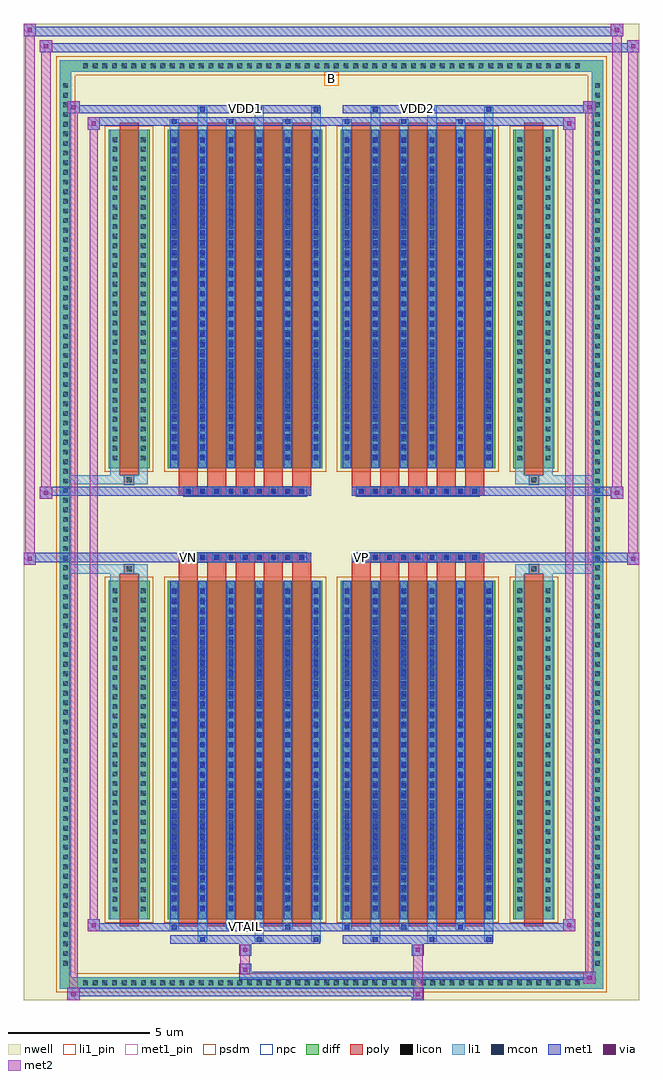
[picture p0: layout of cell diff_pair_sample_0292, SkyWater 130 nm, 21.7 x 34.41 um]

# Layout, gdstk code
import gdstk
lib = gdstk.Library(unit=1e-6, precision=5e-09)
def R(c, l, rs):  # rectangles x0, y0, x1, y1
    for r in rs: c.add(gdstk.rectangle(r[:2], r[2:], *l))
def A(c, l, x, y, w, h, nx, ny, dx, dy):  # array of equal rectangles
    R(c, l, [(x+i*dx, y+j*dy, x+i*dx+w, y+j*dy+h) for i in range(nx) for j in range(ny)])
def P(c, l, *ps):  # polygons
    for p in ps: c.add(gdstk.Polygon(p, *l))
nwell = (64, 20)
diff = (65, 20)
poly = (66, 20)
licon = (66, 44)
li1_pin = (67, 16)
li1 = (67, 20)
mcon = (67, 44)
met1_pin = (68, 16)
met1 = (68, 20)
via = (68, 44)
met2 = (69, 20)
psdm = (94, 20)
npc = (95, 20)

diff_pair_sample_0292 = lib.new_cell('diff_pair_sample_0292')
R(diff_pair_sample_0292, nwell, [(-10.85,-16.77,10.85,17.64), (-8.17,-14.96,-0.01,-0.8), (0.01,-14.96,8.17,-0.8), (-8.17,0.8,-0.01,14.96), (0.01,0.8,8.17,14.96)])
A(diff_pair_sample_0292, diff, -8.875, -16.37, 0.41, 0.41, 52, 2, 0.34, 32.33)
A(diff_pair_sample_0292, diff, -9.58, -15.675, 0.41, 0.41, 1, 92, 0, 0.34)
A(diff_pair_sample_0292, diff, 9.17, -15.675, 0.41, 0.41, 1, 92, 0, 0.34)
R(diff_pair_sample_0292, diff, [(-8.875,-16.37,8.875,-15.96), (-9.58,-15.675,-9.17,15.675), (9.17,-15.675,9.58,15.675), (-7.86,-13.915,-6.41,-1.985), (-5.77,-13.915,-0.32,-1.985), (0.32,-13.915,5.77,-1.985), (6.41,-13.915,7.86,-1.985), (-7.86,1.985,-6.41,13.915), (-5.77,1.985,-0.32,13.915), (0.32,1.985,5.77,13.915), (6.41,1.985,7.86,13.915), (-8.875,15.96,8.875,16.37)])
P(diff_pair_sample_0292, diff, [(9.58,16.37),(-9.58,16.37),(-9.58,-15.96),(-9.17,-15.96),(-9.17,15.96),(9.17,15.96),(9.17,-15.96),(-9.17,-15.96),(-9.58,-15.96),(-9.58,-16.37),(9.58,-16.37)])
A(diff_pair_sample_0292, poly, -5.38, -14.165, 0.67, 12.43, 5, 2, 1, 15.9)
A(diff_pair_sample_0292, poly, 0.71, -14.165, 0.67, 12.43, 5, 2, 1, 15.9)
A(diff_pair_sample_0292, poly, -5.38, -1.735, 0.67, 0.405, 5, 2, 1, 3.065)
A(diff_pair_sample_0292, poly, 0.71, -1.735, 0.67, 0.405, 5, 2, 1, 3.065)
A(diff_pair_sample_0292, poly, -5.21, -1.33, 0.33, 0.33, 9, 2, 0.5, 2.33)
A(diff_pair_sample_0292, poly, 0.88, -1.33, 0.33, 0.33, 9, 2, 0.5, 2.33)
R(diff_pair_sample_0292, poly, [(-7.47,-14.165,-6.8,-1.735), (6.8,-14.165,7.47,-1.735), (-7.3,-1.735,-6.97,-1.405), (-7.3,-1.735,-6.97,-1.405), (6.97,-1.735,7.3,-1.405), (6.97,-1.735,7.3,-1.405), (-5.38,-1.33,-0.71,-1), (0.71,-1.33,5.38,-1), (-5.38,1,-0.71,1.33), (0.71,1,5.38,1.33), (-7.3,1.405,-6.97,1.735), (-7.3,1.405,-6.97,1.735), (6.97,1.405,7.3,1.735), (6.97,1.405,7.3,1.735), (-7.47,1.735,-6.8,14.165), (6.8,1.735,7.47,14.165)])
A(diff_pair_sample_0292, licon, -8.755, -16.25, 0.17, 0.17, 52, 2, 0.34, 32.33)
A(diff_pair_sample_0292, licon, -9.46, -15.555, 0.17, 0.17, 1, 92, 0, 0.34)
A(diff_pair_sample_0292, licon, 9.29, -15.555, 0.17, 0.17, 1, 92, 0, 0.34)
A(diff_pair_sample_0292, licon, -7.72, -13.645, 0.17, 0.17, 1, 34, 0, 0.34)
A(diff_pair_sample_0292, licon, -6.72, -13.645, 0.17, 0.17, 1, 34, 0, 0.34)
A(diff_pair_sample_0292, licon, -5.63, -13.645, 0.17, 0.17, 6, 34, 1, 0.34)
A(diff_pair_sample_0292, licon, 0.46, -13.645, 0.17, 0.17, 6, 34, 1, 0.34)
A(diff_pair_sample_0292, licon, 6.55, -13.645, 0.17, 0.17, 1, 34, 0, 0.34)
A(diff_pair_sample_0292, licon, 7.55, -13.645, 0.17, 0.17, 1, 34, 0, 0.34)
A(diff_pair_sample_0292, licon, -5.13, -1.25, 0.17, 0.17, 9, 2, 0.5, 2.33)
A(diff_pair_sample_0292, licon, 0.96, -1.25, 0.17, 0.17, 9, 2, 0.5, 2.33)
A(diff_pair_sample_0292, licon, -7.72, 2.255, 0.17, 0.17, 1, 34, 0, 0.34)
A(diff_pair_sample_0292, licon, -6.72, 2.255, 0.17, 0.17, 1, 34, 0, 0.34)
A(diff_pair_sample_0292, licon, -5.63, 2.255, 0.17, 0.17, 6, 34, 1, 0.34)
A(diff_pair_sample_0292, licon, 0.46, 2.255, 0.17, 0.17, 6, 34, 1, 0.34)
A(diff_pair_sample_0292, licon, 6.55, 2.255, 0.17, 0.17, 1, 34, 0, 0.34)
A(diff_pair_sample_0292, licon, 7.55, 2.255, 0.17, 0.17, 1, 34, 0, 0.34)
R(diff_pair_sample_0292, licon, [(-7.22,-1.655,-7.05,-1.485), (7.05,-1.655,7.22,-1.485), (-7.22,1.485,-7.05,1.655), (7.05,1.485,7.22,1.655)])
R(diff_pair_sample_0292, li1_pin, [(-0.25,15.46,0.25,15.96)])
A(diff_pair_sample_0292, li1, -8.835, -16.33, 0.33, 0.33, 52, 2, 0.34, 32.33)
A(diff_pair_sample_0292, li1, -9.54, -15.635, 0.33, 0.33, 1, 92, 0, 0.34)
A(diff_pair_sample_0292, li1, 9.21, -15.635, 0.33, 0.33, 1, 92, 0, 0.34)
A(diff_pair_sample_0292, li1, -4.71, -14.72, 0.33, 0.805, 3, 2, 2, 28.635)
A(diff_pair_sample_0292, li1, -4.63, -14.72, 0.17, 0.17, 3, 2, 2, 29.27)
A(diff_pair_sample_0292, li1, 1.38, -14.72, 0.33, 0.805, 3, 2, 2, 28.635)
A(diff_pair_sample_0292, li1, 1.46, -14.72, 0.17, 0.17, 3, 2, 2, 29.27)
A(diff_pair_sample_0292, li1, -5.71, -14.29, 0.33, 0.375, 3, 2, 2, 28.205)
A(diff_pair_sample_0292, li1, -5.63, -14.29, 0.17, 0.17, 3, 2, 2, 28.41)
A(diff_pair_sample_0292, li1, 0.38, -14.29, 0.33, 0.375, 3, 2, 2, 28.205)
A(diff_pair_sample_0292, li1, 0.46, -14.29, 0.17, 0.17, 3, 2, 2, 28.41)
A(diff_pair_sample_0292, li1, -5.71, -13.915, 0.33, 11.93, 6, 2, 1, 15.9)
A(diff_pair_sample_0292, li1, 0.38, -13.915, 0.33, 11.93, 6, 2, 1, 15.9)
A(diff_pair_sample_0292, li1, -7.8, -13.725, 0.33, 0.33, 1, 34, 0, 0.34)
A(diff_pair_sample_0292, li1, -6.8, -13.725, 0.33, 0.33, 1, 34, 0, 0.34)
A(diff_pair_sample_0292, li1, -5.71, -13.725, 0.33, 0.33, 6, 34, 1, 0.34)
A(diff_pair_sample_0292, li1, 0.38, -13.725, 0.33, 0.33, 6, 34, 1, 0.34)
A(diff_pair_sample_0292, li1, 6.47, -13.725, 0.33, 0.33, 1, 34, 0, 0.34)
A(diff_pair_sample_0292, li1, 7.47, -13.725, 0.33, 0.33, 1, 34, 0, 0.34)
A(diff_pair_sample_0292, li1, -5.63, -13.615, 0.17, 0.17, 6, 32, 1, 0.36)
A(diff_pair_sample_0292, li1, -5.63, -13.615, 0.17, 11.33, 6, 2, 1, 15.9)
A(diff_pair_sample_0292, li1, 0.46, -13.615, 0.17, 0.17, 6, 32, 1, 0.36)
A(diff_pair_sample_0292, li1, 0.46, -13.615, 0.17, 11.33, 6, 2, 1, 15.9)
A(diff_pair_sample_0292, li1, -5.21, -1.33, 0.33, 0.33, 9, 2, 0.5, 2.33)
A(diff_pair_sample_0292, li1, 0.88, -1.33, 0.33, 0.33, 9, 2, 0.5, 2.33)
A(diff_pair_sample_0292, li1, -7.8, 2.175, 0.33, 0.33, 1, 34, 0, 0.34)
A(diff_pair_sample_0292, li1, -6.8, 2.175, 0.33, 0.33, 1, 34, 0, 0.34)
A(diff_pair_sample_0292, li1, -5.71, 2.175, 0.33, 0.33, 6, 34, 1, 0.34)
A(diff_pair_sample_0292, li1, 0.38, 2.175, 0.33, 0.33, 6, 34, 1, 0.34)
A(diff_pair_sample_0292, li1, 6.47, 2.175, 0.33, 0.33, 1, 34, 0, 0.34)
A(diff_pair_sample_0292, li1, 7.47, 2.175, 0.33, 0.33, 1, 34, 0, 0.34)
A(diff_pair_sample_0292, li1, -5.63, 2.285, 0.17, 0.17, 6, 32, 1, 0.36)
A(diff_pair_sample_0292, li1, 0.46, 2.285, 0.17, 0.17, 6, 32, 1, 0.36)
R(diff_pair_sample_0292, li1, [(-9.58,-16.37,-9.17,-15.96), (-9.58,-16.37,-9.17,-15.96), (-9.17,-16.37,9.17,-15.96), (9.17,-16.37,9.58,-15.96), (9.17,-16.37,9.58,-15.96), (-9.58,-15.96,-9.17,15.96), (9.17,-15.96,9.58,15.96), (-7.8,-13.915,-7.47,-1.985), (-6.8,-13.915,-6.47,-1.985), (6.47,-13.915,6.8,-1.985), (7.47,-13.915,7.8,-1.985), (-7.8,-1.985,-7.47,-1.405), (-6.8,-1.985,-6.47,-1.405), (6.47,-1.985,6.8,-1.405), (7.47,-1.985,7.8,-1.405), (-9.58,-1.735,-7.3,-1.405), (-7.8,-1.735,-7.3,-1.405), (-7.3,-1.735,-6.97,-1.405), (-6.97,-1.735,-6.47,-1.405), (6.47,-1.735,6.97,-1.405), (6.97,-1.735,7.3,-1.405), (6.97,-1.735,9.58,-1.405), (7.3,-1.735,7.8,-1.405), (-9.58,1.405,-7.3,1.735), (-7.8,1.405,-7.3,1.735), (-7.8,1.405,-7.47,1.985), (-7.3,1.405,-6.97,1.735), (-6.97,1.405,-6.47,1.735), (-6.8,1.405,-6.47,1.985), (6.47,1.405,6.97,1.735), (6.47,1.405,6.8,1.985), (6.97,1.405,7.3,1.735), (6.97,1.405,9.58,1.735), (7.3,1.405,7.8,1.735), (7.47,1.405,7.8,1.985), (-7.8,1.985,-7.47,13.915), (-6.8,1.985,-6.47,13.915), (6.47,1.985,6.8,13.915), (7.47,1.985,7.8,13.915), (-9.58,15.96,-9.17,16.37), (-9.58,15.96,-9.17,16.37), (-9.17,15.96,9.17,16.37), (9.17,15.96,9.58,16.37), (9.17,15.96,9.58,16.37)])
A(diff_pair_sample_0292, mcon, -4.63, -14.72, 0.17, 0.17, 3, 2, 2, 29.27)
A(diff_pair_sample_0292, mcon, 1.46, -14.72, 0.17, 0.17, 3, 2, 2, 29.27)
A(diff_pair_sample_0292, mcon, -5.63, -14.29, 0.17, 0.17, 3, 2, 2, 28.41)
A(diff_pair_sample_0292, mcon, 0.46, -14.29, 0.17, 0.17, 3, 2, 2, 28.41)
A(diff_pair_sample_0292, mcon, -5.63, -13.615, 0.17, 0.17, 6, 32, 1, 0.36)
A(diff_pair_sample_0292, mcon, 0.46, -13.615, 0.17, 0.17, 6, 32, 1, 0.36)
A(diff_pair_sample_0292, mcon, -5.13, -1.25, 0.17, 0.17, 9, 2, 0.5, 2.33)
A(diff_pair_sample_0292, mcon, 0.96, -1.25, 0.17, 0.17, 9, 2, 0.5, 2.33)
A(diff_pair_sample_0292, mcon, -5.63, 2.285, 0.17, 0.17, 6, 32, 1, 0.36)
A(diff_pair_sample_0292, mcon, 0.46, 2.285, 0.17, 0.17, 6, 32, 1, 0.36)
R(diff_pair_sample_0292, met1_pin, [(-3.18,-14.33,-2.91,-14.06), (-5.18,-1.29,-4.91,-1.02), (0.91,-1.29,1.18,-1.02), (-3.18,14.51,-2.91,14.78), (2.91,14.51,3.18,14.78)])
A(diff_pair_sample_0292, met1, -4.69, -14.78, 0.29, 0.29, 3, 2, 2, 29.27)
A(diff_pair_sample_0292, met1, 1.4, -14.78, 0.29, 0.29, 3, 2, 2, 29.27)
A(diff_pair_sample_0292, met1, -5.69, -14.35, 0.29, 0.29, 3, 2, 2, 28.41)
A(diff_pair_sample_0292, met1, 0.4, -14.35, 0.29, 0.29, 3, 2, 2, 28.41)
A(diff_pair_sample_0292, met1, -5.69, -13.915, 0.29, 11.93, 6, 2, 1, 15.9)
A(diff_pair_sample_0292, met1, 0.4, -13.915, 0.29, 11.93, 6, 2, 1, 15.9)
A(diff_pair_sample_0292, met1, -5.69, -13.675, 0.29, 0.29, 6, 32, 1, 0.36)
A(diff_pair_sample_0292, met1, 0.4, -13.675, 0.29, 0.29, 6, 32, 1, 0.36)
A(diff_pair_sample_0292, met1, -5.19, -1.31, 0.29, 0.29, 9, 2, 0.5, 2.33)
A(diff_pair_sample_0292, met1, 0.9, -1.31, 0.29, 0.29, 9, 2, 0.5, 2.33)
A(diff_pair_sample_0292, met1, -5.69, 2.225, 0.29, 0.29, 6, 32, 1, 0.36)
A(diff_pair_sample_0292, met1, 0.4, 2.225, 0.29, 0.29, 6, 32, 1, 0.36)
R(diff_pair_sample_0292, met1, [(-9.31,-16.77,-8.88,-16.34), (2.83,-16.77,3.26,-16.34), (-9.31,-16.63,3.26,-16.34), (8.88,-16.2,9.31,-15.77), (-3.26,-16.06,9.31,-15.77), (-3.26,-15.92,-2.83,-15.49), (-3.26,-15.21,-2.83,-14.78), (2.83,-15.21,3.26,-14.78), (-5.69,-14.78,-0.4,-14.49), (0.4,-14.78,5.69,-14.49), (-8.6,-14.35,-8.17,-13.92), (-8.6,-14.35,-5.69,-14.06), (-5.69,-14.35,-0.4,-14.06), (-0.4,-14.35,0.4,-14.06), (0.4,-14.35,5.69,-14.06), (5.69,-14.35,8.6,-14.06), (8.17,-14.35,8.6,-13.92), (-10.85,-1.43,-10.42,-1), (10.42,-1.43,10.85,-1), (-10.85,-1.33,-0.71,-1), (-5.38,-1.33,-0.71,-1), (0.71,-1.33,5.38,-1), (0.71,-1.33,10.85,-1), (-10.28,0.9,-9.85,1.33), (9.85,0.9,10.28,1.33), (-10.28,1,-5.38,1.33), (-5.38,1,-0.71,1.33), (0.71,1,5.38,1.33), (5.38,1,10.28,1.33), (-8.6,13.92,-8.17,14.35), (8.17,13.92,8.6,14.35), (-8.6,14.06,-5.69,14.35), (-5.69,14.06,-0.4,14.35), (-0.4,14.06,0.4,14.35), (0.4,14.06,5.69,14.35), (5.69,14.06,8.6,14.35), (-9.31,14.49,-8.88,14.92), (-9.31,14.49,-5.69,14.78), (-5.69,14.49,-0.4,14.78), (0.4,14.49,5.69,14.78), (5.69,14.49,9.31,14.78), (8.88,14.49,9.31,14.92), (-10.28,16.64,-9.85,17.07), (-10.28,16.64,-8.17,16.97), (-8.17,16.64,8.17,16.97), (8.17,16.64,10.85,16.97), (10.42,16.64,10.85,17.07), (-10.85,17.21,-10.42,17.64), (-10.85,17.21,-8.17,17.54), (-8.17,17.21,8.17,17.54), (8.17,17.21,10.28,17.54), (9.85,17.21,10.28,17.64)])
R(diff_pair_sample_0292, via, [(-9.17,-16.63,-9.02,-16.48), (2.97,-16.63,3.12,-16.48), (9.02,-16.06,9.17,-15.91), (-3.12,-15.78,-2.97,-15.63), (-3.12,-15.07,-2.97,-14.92), (2.97,-15.07,3.12,-14.92), (-8.46,-14.21,-8.31,-14.06), (8.31,-14.21,8.46,-14.06), (-10.71,-1.29,-10.56,-1.14), (10.56,-1.29,10.71,-1.14), (-10.14,1.04,-9.99,1.19), (9.99,1.04,10.14,1.19), (-8.46,14.06,-8.31,14.21), (8.31,14.06,8.46,14.21), (-9.17,14.63,-9.02,14.78), (9.02,14.63,9.17,14.78), (-10.14,16.78,-9.99,16.93), (10.56,16.78,10.71,16.93), (-10.71,17.35,-10.56,17.5), (9.99,17.35,10.14,17.5)])
R(diff_pair_sample_0292, met2, [(-9.31,-16.77,-8.88,-16.34), (-9.24,-16.77,-8.95,14.92), (-8.95,-16.77,-8.88,-16.34), (-9.26,-16.72,-8.93,-16.39), (2.88,-16.72,3.21,-16.39), (2.88,-16.39,3.21,-15.16), (8.88,-16.2,9.31,-15.77), (8.95,-16.2,9.24,14.92), (9.24,-16.2,9.31,-15.77), (8.93,-16.15,9.26,-15.82), (-3.21,-15.87,-2.88,-15.54), (-3.21,-15.54,-2.88,-15.16), (-3.21,-15.16,-2.88,-14.83), (2.88,-15.16,3.21,-14.83), (-8.6,-14.35,-8.17,-13.92), (-8.53,-14.35,-8.24,14.35), (-8.24,-14.35,-8.17,-13.92), (8.17,-14.35,8.6,-13.92), (8.24,-14.35,8.53,14.35), (8.53,-14.35,8.6,-13.92), (-8.55,-14.3,-8.22,-13.97), (8.22,-14.3,8.55,-13.97), (-10.85,-1.43,-10.42,-1), (-10.8,-1.43,-10.47,17.64), (-10.47,-1.43,-10.42,-1), (10.42,-1.43,10.85,-1), (10.47,-1.43,10.8,17.07), (10.8,-1.43,10.85,-1), (-10.8,-1.38,-10.47,-1.05), (10.47,-1.38,10.8,-1.05), (-10.28,0.9,-9.85,1.33), (-10.23,0.9,-9.9,17.07), (-9.9,0.9,-9.85,1.33), (9.85,0.9,10.28,1.33), (9.9,0.9,10.23,17.64), (10.23,0.9,10.28,1.33), (-10.23,0.95,-9.9,1.28), (9.9,0.95,10.23,1.28), (-8.6,13.92,-8.17,14.35), (-8.24,13.92,-8.17,14.35), (8.17,13.92,8.6,14.35), (8.53,13.92,8.6,14.35), (-8.55,13.97,-8.22,14.3), (8.22,13.97,8.55,14.3), (-9.31,14.49,-8.88,14.92), (-8.95,14.49,-8.88,14.92), (8.88,14.49,9.31,14.92), (9.24,14.49,9.31,14.92), (-9.26,14.54,-8.93,14.87), (8.93,14.54,9.26,14.87), (-10.28,16.64,-9.85,17.07), (-9.9,16.64,-9.85,17.07), (10.42,16.64,10.85,17.07), (10.8,16.64,10.85,17.07), (-10.23,16.69,-9.9,17.02), (10.47,16.69,10.8,17.02), (-10.85,17.21,-10.42,17.64), (-10.47,17.21,-10.42,17.64), (9.85,17.21,10.28,17.64), (10.23,17.21,10.28,17.64), (-10.8,17.26,-10.47,17.59), (9.9,17.26,10.23,17.59)])
R(diff_pair_sample_0292, psdm, [(-7.99,-14.045,-6.28,-1.855), (-5.9,-14.045,-0.19,-1.855), (0.19,-14.045,5.9,-1.855), (6.28,-14.045,7.99,-1.855), (-7.99,1.855,-6.28,14.045), (-5.9,1.855,-0.19,14.045), (0.19,1.855,5.9,14.045), (6.28,1.855,7.99,14.045)])
P(diff_pair_sample_0292, psdm, [(9.71,16.5),(-9.71,16.5),(-9.71,-15.83),(-9.04,-15.83),(-9.04,15.83),(9.04,15.83),(9.04,-15.83),(-9.04,-15.83),(-9.71,-15.83),(-9.71,-16.5),(9.71,-16.5)])
A(diff_pair_sample_0292, npc, -5.23, -1.35, 0.37, 0.37, 9, 2, 0.5, 2.33)
A(diff_pair_sample_0292, npc, 0.86, -1.35, 0.37, 0.37, 9, 2, 0.5, 2.33)
R(diff_pair_sample_0292, npc, [(-7.32,-1.755,-6.95,-1.385), (6.95,-1.755,7.32,-1.385), (-5.23,-1.35,-4.36,-0.98), (-5.23,-1.35,-4.36,-0.98), (-4.73,-1.35,-3.86,-0.98), (-4.73,-1.35,-3.86,-0.98), (-4.23,-1.35,-3.36,-0.98), (-4.23,-1.35,-3.36,-0.98), (-3.73,-1.35,-2.86,-0.98), (-3.73,-1.35,-2.86,-0.98), (-3.23,-1.35,-2.36,-0.98), (-3.23,-1.35,-2.36,-0.98), (-2.73,-1.35,-1.86,-0.98), (-2.73,-1.35,-1.86,-0.98), (-2.23,-1.35,-1.36,-0.98), (-2.23,-1.35,-1.36,-0.98), (-1.73,-1.35,-0.86,-0.98), (-1.73,-1.35,-0.86,-0.98), (0.86,-1.35,1.73,-0.98), (0.86,-1.35,1.73,-0.98), (1.36,-1.35,2.23,-0.98), (1.36,-1.35,2.23,-0.98), (1.86,-1.35,2.73,-0.98), (1.86,-1.35,2.73,-0.98), (2.36,-1.35,3.23,-0.98), (2.36,-1.35,3.23,-0.98), (2.86,-1.35,3.73,-0.98), (2.86,-1.35,3.73,-0.98), (3.36,-1.35,4.23,-0.98), (3.36,-1.35,4.23,-0.98), (3.86,-1.35,4.73,-0.98), (3.86,-1.35,4.73,-0.98), (4.36,-1.35,5.23,-0.98), (4.36,-1.35,5.23,-0.98), (-5.23,0.98,-4.36,1.35), (-5.23,0.98,-4.36,1.35), (-4.73,0.98,-3.86,1.35), (-4.73,0.98,-3.86,1.35), (-4.23,0.98,-3.36,1.35), (-4.23,0.98,-3.36,1.35), (-3.73,0.98,-2.86,1.35), (-3.73,0.98,-2.86,1.35), (-3.23,0.98,-2.36,1.35), (-3.23,0.98,-2.36,1.35), (-2.73,0.98,-1.86,1.35), (-2.73,0.98,-1.86,1.35), (-2.23,0.98,-1.36,1.35), (-2.23,0.98,-1.36,1.35), (-1.73,0.98,-0.86,1.35), (-1.73,0.98,-0.86,1.35), (0.86,0.98,1.73,1.35), (0.86,0.98,1.73,1.35), (1.36,0.98,2.23,1.35), (1.36,0.98,2.23,1.35), (1.86,0.98,2.73,1.35), (1.86,0.98,2.73,1.35), (2.36,0.98,3.23,1.35), (2.36,0.98,3.23,1.35), (2.86,0.98,3.73,1.35), (2.86,0.98,3.73,1.35), (3.36,0.98,4.23,1.35), (3.36,0.98,4.23,1.35), (3.86,0.98,4.73,1.35), (3.86,0.98,4.73,1.35), (4.36,0.98,5.23,1.35), (4.36,0.98,5.23,1.35), (-7.32,1.385,-6.95,1.755), (6.95,1.385,7.32,1.755)])
diff_pair_sample_0292.add(gdstk.Label('VTAIL', (-3.045,-14.195), layer=68, texttype=5))
diff_pair_sample_0292.add(gdstk.Label('VN', (-5.045,-1.155), layer=68, texttype=5))
diff_pair_sample_0292.add(gdstk.Label('VP', (1.045,-1.155), layer=68, texttype=5))
diff_pair_sample_0292.add(gdstk.Label('B', (0,15.71), layer=67, texttype=5))
diff_pair_sample_0292.add(gdstk.Label('VDD2', (3.045,14.645), layer=68, texttype=5))
diff_pair_sample_0292.add(gdstk.Label('VDD1', (-3.045,14.645), layer=68, texttype=5))

lib.write_gds('diff_pair_sample_0292.gds')
